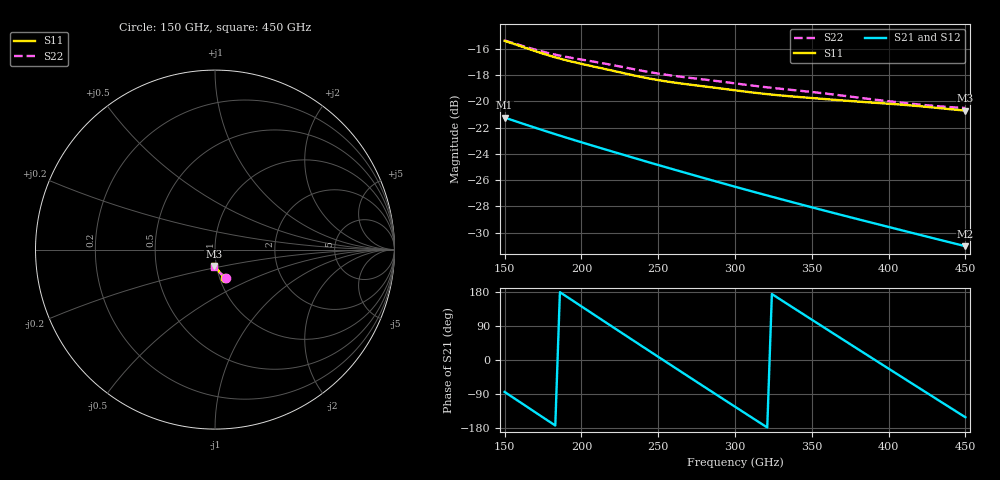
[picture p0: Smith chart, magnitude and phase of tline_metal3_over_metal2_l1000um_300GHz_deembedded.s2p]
! Created with skrf 2.2.0 (http://scikit-rf.org).
# GHz S DB R 50.0
! Port[1] = P1
! Port[2] = P2
!freq dBS11 angS11 dBS21 angS21 dBS12 angS12 dBS22 angS22
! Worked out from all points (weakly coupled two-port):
!   101 points, 150 GHz to 450 GHz, reference 50 ohm
!   highest |S21| = -21.24 dB at 150 GHz (marker M1); lowest = -31.0 dB at 450 GHz (marker M2)
!   lowest |S11| = -20.7 dB at 450 GHz (marker M3), VSWR 1.20, Z = 48.5 - j8.98 ohm
!   |S11| at or under -10 dB: start of sweep to end of sweep
!   |S22| runs from -20.5 to -15.4 dB; largest |S21 - S12| = 1.4e-13
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150  -15.40 -71.1  -21.24 -84.2  -21.24 -84.2  -15.37 -69.4
162  -15.87 -72.9  -21.71 -116.5  -21.71 -116.5  -15.80 -70.9
177  -16.45 -74.5  -22.28 -156.9  -22.28 -156.9  -16.29 -72.2
189  -16.84 -75.5  -22.72 171.0  -22.72 171.0  -16.60 -73.1
201  -17.18 -76.5  -23.15 138.9  -23.15 138.9  -16.85 -74.2
213  -17.49 -77.6  -23.58 106.8  -23.58 106.8  -17.09 -75.5
225  -17.80 -78.7  -23.99 74.9  -23.99 74.9  -17.35 -76.9
240  -18.17 -79.8  -24.51 35.0  -24.51 35.0  -17.69 -78.4
252  -18.43 -80.4  -24.92 3.2  -24.92 3.2  -17.93 -79.3
264  -18.63 -81.1  -25.32 -28.5  -25.32 -28.5  -18.12 -80.2
276  -18.81 -81.9  -25.72 -60.2  -25.72 -60.2  -18.29 -81.3
288  -18.99 -82.8  -26.11 -91.7  -26.11 -91.7  -18.46 -82.5
300  -19.17 -83.8  -26.50 -123.2  -26.50 -123.2  -18.64 -83.6
312  -19.34 -84.6  -26.88 -154.6  -26.88 -154.6  -18.82 -84.6
324  -19.49 -85.3  -27.26 174.1  -27.26 174.1  -18.98 -85.6
339  -19.65 -86.3  -27.73 135.0  -27.73 135.0  -19.16 -86.8
351  -19.76 -87.1  -28.10 103.9  -28.10 103.9  -19.31 -87.9
363  -19.87 -88.0  -28.46 72.8  -28.46 72.8  -19.47 -88.9
378  -20.01 -89.1  -28.91 34.0  -28.91 34.0  -19.69 -90.0
402  -20.20 -91.0  -29.62 -27.9  -29.62 -27.9  -20.02 -91.3
426  -20.44 -93.0  -30.33 -89.6  -30.33 -89.6  -20.31 -91.9
450  -20.71 -94.4  -31.03 -151.1  -31.03 -151.1  -20.51 -91.8
